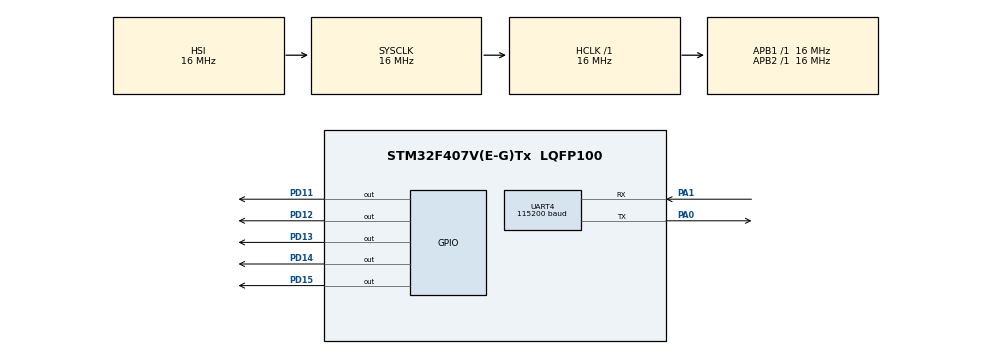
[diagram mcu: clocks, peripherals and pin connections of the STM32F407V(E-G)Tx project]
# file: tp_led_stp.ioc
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Mcu.Family=STM32F4
Mcu.Name=STM32F407V(E-G)Tx
Mcu.Package=LQFP100
NVIC.PriorityGroup=NVIC_PRIORITYGROUP_4
NVIC.TIM3_IRQn=true\:0\:0\:false\:false\:true\:true
PA0-WKUP.Mode=Asynchronous
PA0-WKUP.Signal=UART4_TX
PA1.Mode=Asynchronous
PA1.Signal=UART4_RX
PD11.Signal=GPIO_Output
PD12.Signal=GPIO_Output
PD13.Signal=GPIO_Output
PD14.Signal=GPIO_Output
PD15.Signal=GPIO_Output
PH0-OSC_IN.Mode=HSE-External-Clock-Source
PH0-OSC_IN.Signal=RCC_OSC_IN
PH1-OSC_OUT.Mode=HSE-External-Clock-Source
PH1-OSC_OUT.Signal=RCC_OSC_OUT
ProjectManager.HeapSize=0x200
ProjectManager.StackSize=0x400
ProjectManager.TargetToolchain=SW4STM32
RCC.AHBFreq_Value=16000000
RCC.APB1Freq_Value=16000000
RCC.APB1TimFreq_Value=16000000
RCC.APB2Freq_Value=16000000
RCC.APB2TimFreq_Value=16000000
RCC.CortexFreq_Value=16000000
RCC.HCLKFreq_Value=16000000
RCC.HSE_VALUE=25000000
RCC.HSI_VALUE=16000000
RCC.LSE_VALUE=32768
RCC.SYSCLKFreq_VALUE=16000000
RCC.VCOOutputFreq_Value=192000000
TIM3.Period=1000
TIM3.Prescaler=5000
UART4.BaudRate=115200
UART4.Mode=MODE_RX
UART4.VirtualMode=Asynchronous
VP_TIM3_VS_ClockSourceINT.Mode=Internal
board=tp_led_stp

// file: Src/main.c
/**
  ******************************************************************************
  * File Name          : main.c
  * Description        : Main program body
  ******************************************************************************
  ** This notice applies to any and all portions of this file
  * that are not between comment pairs USER CODE BEGIN and
  * USER CODE END. Other portions of this file, whether
  * inserted by the user or by software development tools
  * are owned by their respective copyright owners.
  *
  * COPYRIGHT(c) 2018 STMicroelectronics
  *
  * Redistribution and use in source and binary forms, with or without modification,
  * are permitted provided that the following conditions are met:
  *   1. Redistributions of source code must retain the above copyright notice,
  *      this list of conditions and the following disclaimer.
  *   2. Redistributions in binary form must reproduce the above copyright notice,
  *      this list of conditions and the following disclaimer in the documentation
  *      and/or other materials provided with the distribution.
  *   3. Neither the name of STMicroelectronics nor the names of its contributors
  *      may be used to endorse or promote products derived from this software
  *      without specific prior written permission.
  *
  * THIS SOFTWARE IS PROVIDED BY THE COPYRIGHT HOLDERS AND CONTRIBUTORS "AS IS"
  * AND ANY EXPRESS OR IMPLIED WARRANTIES, INCLUDING, BUT NOT LIMITED TO, THE
  * IMPLIED WARRANTIES OF MERCHANTABILITY AND FITNESS FOR A PARTICULAR PURPOSE ARE
  * DISCLAIMED. IN NO EVENT SHALL THE COPYRIGHT HOLDER OR CONTRIBUTORS BE LIABLE
  * FOR ANY DIRECT, INDIRECT, INCIDENTAL, SPECIAL, EXEMPLARY, OR CONSEQUENTIAL
  * DAMAGES (INCLUDING, BUT NOT LIMITED TO, PROCUREMENT OF SUBSTITUTE GOODS OR
  * SERVICES; LOSS OF USE, DATA, OR PROFITS; OR BUSINESS INTERRUPTION) HOWEVER
  * CAUSED AND ON ANY THEORY OF LIABILITY, WHETHER IN CONTRACT, STRICT LIABILITY,
  * OR TORT (INCLUDING NEGLIGENCE OR OTHERWISE) ARISING IN ANY WAY OUT OF THE USE
  * OF THIS SOFTWARE, EVEN IF ADVISED OF THE POSSIBILITY OF SUCH DAMAGE.
  *
  ******************************************************************************
  */

#include "main.h"
#include "stm32f4xx_hal.h"

TIM_HandleTypeDef htim3;

UART_HandleTypeDef huart4;

uint8_t tableau [] = "Salut";

/* USER CODE BEGIN PV */
/* Private variables ---------------------------------------------------------*/

/* USER CODE END PV */

void SystemClock_Config(void);
static void MX_GPIO_Init(void);
static void MX_TIM3_Init(void);
static void MX_UART4_Init(void);

/* USER CODE BEGIN PFP */
/* Private function prototypes -----------------------------------------------*/

/* USER CODE END PFP */

int main(void)
{

  /* MCU Configuration----------------------------------------------------------*/

  /* Reset of all peripherals, Initializes the Flash interface and the Systick. */
  HAL_Init();

  /* Configure the system clock */
  SystemClock_Config();

  /* Initialize all configured peripherals */
  MX_GPIO_Init();
  MX_TIM3_Init();
  MX_UART4_Init();

  /* USER CODE BEGIN 2 */
	HAL_TIM_Base_Start_IT(&htim3);

  /* USER CODE END 2 */

  /* Infinite loop */

  /* USER CODE BEGIN 3 */
	HAL_UART_Transmit(&huart4, &tableau, 5, 1000);

  /* USER CODE END 3 */

}

/** System Clock Configuration
*/
void SystemClock_Config(void)
{

  RCC_OscInitTypeDef RCC_OscInitStruct;
  RCC_ClkInitTypeDef RCC_ClkInitStruct;

    /**Configure the main internal regulator output voltage
    */
  __HAL_RCC_PWR_CLK_ENABLE();

  __HAL_PWR_VOLTAGESCALING_CONFIG(PWR_REGULATOR_VOLTAGE_SCALE1);

    /**Initializes the CPU, AHB and APB busses clocks
    */
  RCC_OscInitStruct.OscillatorType = RCC_OSCILLATORTYPE_HSI;
  RCC_OscInitStruct.HSIState = RCC_HSI_ON;
  RCC_OscInitStruct.HSICalibrationValue = 16;
  RCC_OscInitStruct.PLL.PLLState = RCC_PLL_NONE;
  if (HAL_RCC_OscConfig(&RCC_OscInitStruct) != HAL_OK)
  {
    _Error_Handler(__FILE__, __LINE__);
  }

    /**Initializes the CPU, AHB and APB busses clocks
    */
  RCC_ClkInitStruct.ClockType = RCC_CLOCKTYPE_HCLK|RCC_CLOCKTYPE_SYSCLK
                              |RCC_CLOCKTYPE_PCLK1|RCC_CLOCKTYPE_PCLK2;
  RCC_ClkInitStruct.SYSCLKSource = RCC_SYSCLKSOURCE_HSI;
  RCC_ClkInitStruct.AHBCLKDivider = RCC_SYSCLK_DIV1;
  RCC_ClkInitStruct.APB1CLKDivider = RCC_HCLK_DIV1;
  RCC_ClkInitStruct.APB2CLKDivider = RCC_HCLK_DIV1;

  if (HAL_RCC_ClockConfig(&RCC_ClkInitStruct, FLASH_LATENCY_0) != HAL_OK)
  {
    _Error_Handler(__FILE__, __LINE__);
  }

    /**Configure the Systick interrupt time
    */
  HAL_SYSTICK_Config(HAL_RCC_GetHCLKFreq()/1000);

    /**Configure the Systick
    */
  HAL_SYSTICK_CLKSourceConfig(SYSTICK_CLKSOURCE_HCLK);

  /* SysTick_IRQn interrupt configuration */
  HAL_NVIC_SetPriority(SysTick_IRQn, 0, 0);
}

/* TIM3 init function */
static void MX_TIM3_Init(void)
{

  TIM_ClockConfigTypeDef sClockSourceConfig;
  TIM_MasterConfigTypeDef sMasterConfig;

  htim3.Instance = TIM3;
  htim3.Init.Prescaler = 5000;
  htim3.Init.CounterMode = TIM_COUNTERMODE_UP;
  htim3.Init.Period = 1000;
  htim3.Init.ClockDivision = TIM_CLOCKDIVISION_DIV1;
  if (HAL_TIM_Base_Init(&htim3) != HAL_OK)
  {
    _Error_Handler(__FILE__, __LINE__);
  }

  sClockSourceConfig.ClockSource = TIM_CLOCKSOURCE_INTERNAL;
  if (HAL_TIM_ConfigClockSource(&htim3, &sClockSourceConfig) != HAL_OK)
  {
    _Error_Handler(__FILE__, __LINE__);
  }

  sMasterConfig.MasterOutputTrigger = TIM_TRGO_RESET;
  sMasterConfig.MasterSlaveMode = TIM_MASTERSLAVEMODE_DISABLE;
  if (HAL_TIMEx_MasterConfigSynchronization(&htim3, &sMasterConfig) != HAL_OK)
  {
    _Error_Handler(__FILE__, __LINE__);
  }

}

/* UART4 init function */
static void MX_UART4_Init(void)
{

  huart4.Instance = UART4;
  huart4.Init.BaudRate = 9600;
  huart4.Init.WordLength = UART_WORDLENGTH_8B;
  huart4.Init.StopBits = UART_STOPBITS_1;
  huart4.Init.Parity = UART_PARITY_NONE;
  huart4.Init.Mode = UART_MODE_RX;
  huart4.Init.HwFlowCtl = UART_HWCONTROL_NONE;
  huart4.Init.OverSampling = UART_OVERSAMPLING_16;
  if (HAL_UART_Init(&huart4) != HAL_OK)
  {
    _Error_Handler(__FILE__, __LINE__);
  }

}

/** Configure pins as
        * Analog
        * Input
        * Output
        * EVENT_OUT
        * EXTI
*/
static void MX_GPIO_Init(void)
{

  GPIO_InitTypeDef GPIO_InitStruct;

  /* GPIO Ports Clock Enable */
  __HAL_RCC_GPIOH_CLK_ENABLE();
  __HAL_RCC_GPIOA_CLK_ENABLE();
  __HAL_RCC_GPIOD_CLK_ENABLE();

  /*Configure GPIO pin Output Level */
  HAL_GPIO_WritePin(GPIOD, GPIO_PIN_11|GPIO_PIN_12|GPIO_PIN_13|GPIO_PIN_14
                          |GPIO_PIN_15, GPIO_PIN_RESET);

  /*Configure GPIO pins : PD11 PD12 PD13 PD14
                           PD15 */
  GPIO_InitStruct.Pin = GPIO_PIN_11|GPIO_PIN_12|GPIO_PIN_13|GPIO_PIN_14
                          |GPIO_PIN_15;
  GPIO_InitStruct.Mode = GPIO_MODE_OUTPUT_PP;
  GPIO_InitStruct.Pull = GPIO_NOPULL;
  GPIO_InitStruct.Speed = GPIO_SPEED_FREQ_LOW;
  HAL_GPIO_Init(GPIOD, &GPIO_InitStruct);

}

/* USER CODE BEGIN 4 */
void HAL_TIM_PeriodElapsedCallback(TIM_HandleTypeDef *htim) {

	static unsigned long PulseWidthTimer;
	const unsigned long PulseWidth = 0x87; // 0x4B pour 50Hz (0x87 pour 10%, 0x0F pour 90%)
	static unsigned long PeriodTimer;
	const unsigned long Period = 0x96; // 0x96 pour 50Hz

	if (htim->Instance == htim3.Instance){

		if ( PulseWidthTimer == PulseWidth ){ //Temps état haut
				HAL_GPIO_TogglePin(GPIOD, GPIO_PIN_13); // toggle PD11
			}
			if ( PeriodTimer == Period ){	//Fréquence de la PWM
				HAL_GPIO_TogglePin(GPIOD, GPIO_PIN_13); // toggle PD11
				PeriodTimer = 0;
				PulseWidthTimer = 0;	//on remet à 0 le temps état haut
			}

			PeriodTimer ++;
			PulseWidthTimer ++;

	}

}

/* USER CODE END 4 */

void _Error_Handler(char * file, int line)
{
  /* USER CODE BEGIN Error_Handler_Debug */
	/* User can add his own implementation to report the HAL error return state */
	/*while (1) {
	}*/
  /* USER CODE END Error_Handler_Debug */
}

/************************ (C) COPYRIGHT STMicroelectronics *****END OF FILE****/
